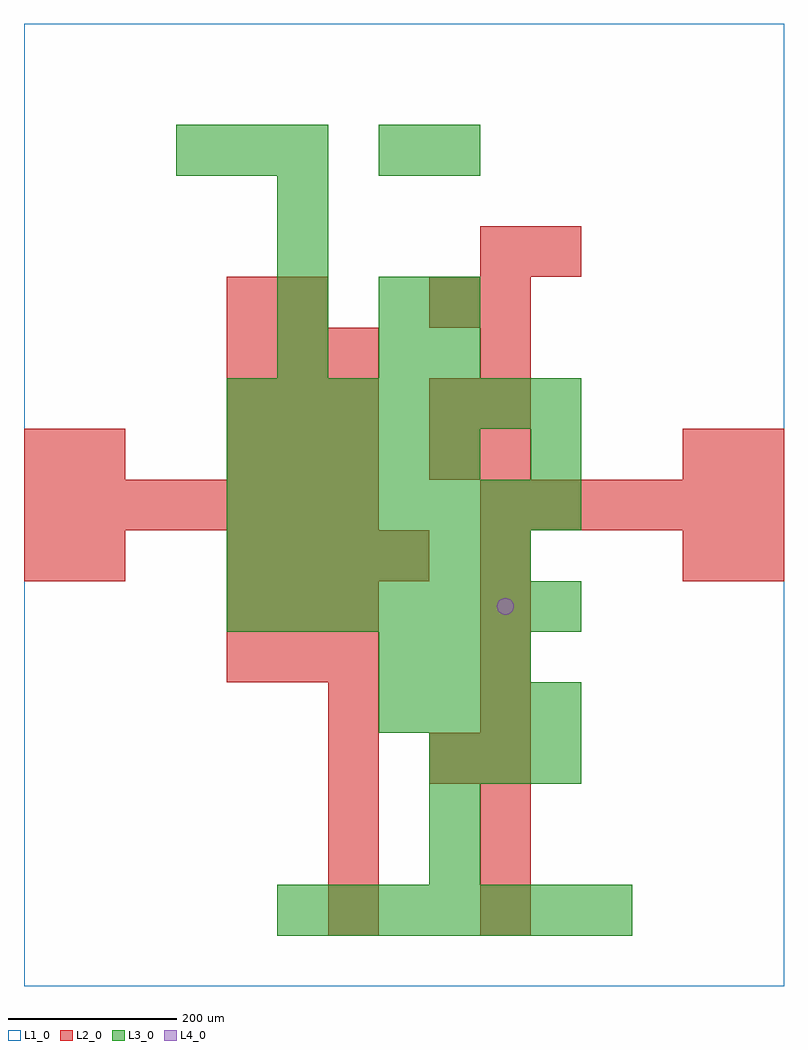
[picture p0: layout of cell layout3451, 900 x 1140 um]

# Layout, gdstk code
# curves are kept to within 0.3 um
import gdstk
lib = gdstk.Library(unit=1e-6, precision=1e-09)
def R(c, l, rs):  # rectangles x0, y0, x1, y1
    for r in rs: c.add(gdstk.rectangle(r[:2], r[2:], *l))
def A(c, l, x, y, w, h, nx, ny, dx, dy):  # array of equal rectangles
    R(c, l, [(x+i*dx, y+j*dy, x+i*dx+w, y+j*dy+h) for i in range(nx) for j in range(ny)])
def P(c, l, *ps):  # polygons
    for p in ps: c.add(gdstk.Polygon(p, *l))
L1_0 = (1, 0)
L2_0 = (2, 0)
L3_0 = (3, 0)
L4_0 = (4, 0)

layout3451 = lib.new_cell('layout3451')
R(layout3451, L1_0, [(0,0,900,1140)])
A(layout3451, L2_0, 360, 60, 60, 60, 1, 5, 0, 60)
A(layout3451, L2_0, 540, 60, 60, 60, 1, 8, 0, 60)
A(layout3451, L2_0, 240, 360, 60, 60, 3, 2, 60, 60)
A(layout3451, L2_0, 240, 480, 60, 60, 4, 1, 60, 0)
A(layout3451, L2_0, 0, 540, 60, 60, 7, 1, 60, 0)
A(layout3451, L2_0, 540, 540, 60, 60, 6, 1, 60, 0)
A(layout3451, L2_0, 240, 600, 60, 60, 3, 3, 60, 60)
A(layout3451, L2_0, 540, 600, 60, 60, 1, 5, 0, 60)
R(layout3451, L2_0, [(480,240,540,300), (0,480,60,540), (60,480,120,540), (780,480,840,540), (840,480,900,540), (0,600,60,660), (60,600,120,660), (480,600,540,660), (780,600,840,660), (840,600,900,660), (480,660,540,720), (240,780,300,840), (300,780,360,840), (480,780,540,840), (600,840,660,900)])
A(layout3451, L3_0, 300, 60, 60, 60, 7, 1, 60, 0)
A(layout3451, L3_0, 480, 240, 60, 60, 3, 1, 60, 0)
A(layout3451, L3_0, 420, 300, 60, 60, 4, 1, 60, 0)
A(layout3451, L3_0, 420, 360, 60, 60, 3, 1, 60, 0)
A(layout3451, L3_0, 240, 420, 60, 60, 7, 3, 60, 120)
A(layout3451, L3_0, 240, 480, 60, 60, 6, 1, 60, 0)
A(layout3451, L3_0, 240, 600, 60, 60, 5, 1, 60, 0)
A(layout3451, L3_0, 300, 720, 60, 60, 1, 4, 0, 60)
A(layout3451, L3_0, 180, 960, 60, 60, 3, 1, 60, 0)
R(layout3451, L3_0, [(480,120,540,180), (480,180,540,240), (600,600,660,660), (420,720,480,780), (480,720,540,780), (420,780,480,840), (480,780,540,840), (420,960,480,1020), (480,960,540,1020)])
P(layout3451, L4_0, [(580,450),(579.239,453.827),(577.071,457.071),(573.827,459.239),(570,460),(566.173,459.239),(562.929,457.071),(560.761,453.827),(560,450),(560.761,446.173),(562.929,442.929),(566.173,440.761),(570,440),(573.827,440.761),(577.071,442.929),(579.239,446.173)])

lib.write_gds('layout3451.gds')
